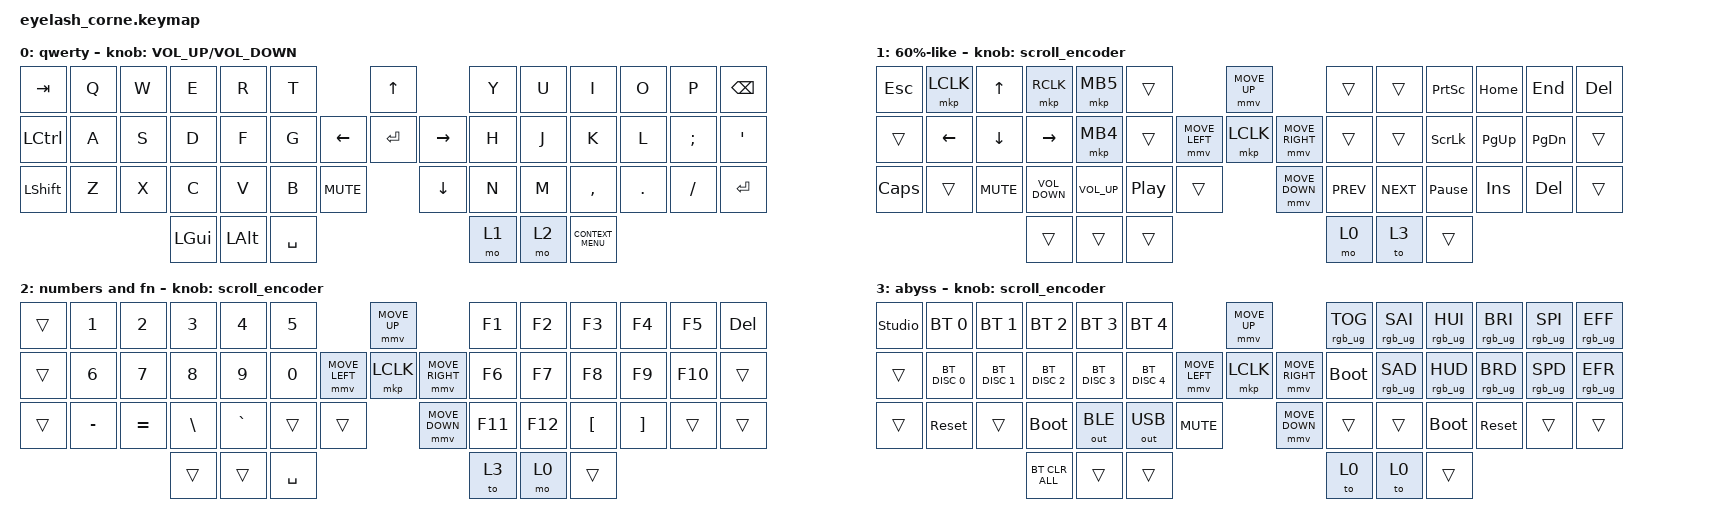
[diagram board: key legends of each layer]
#include <input/processors.dtsi>
#include <dt-bindings/zmk/mouse.h>
#include <behaviors.dtsi>
#include <dt-bindings/zmk/bt.h>
#include <dt-bindings/zmk/keys.h>
#include <dt-bindings/zmk/outputs.h>
#include <dt-bindings/zmk/pointing.h>
#include <dt-bindings/zmk/rgb.h>

/*

   &mmv_input_listener {
       input-processors = <&zip_xy_scaler 2 1>;
   };

   &msc_input_listener {
       input-processors = <&zip_xy_scaler 2 1>;
   };

 */

#define ZMK_MOUSE_DEFAULT_MOVE_VAL 1200  // 600
#define ZMK_MOUSE_DEFAULT_SCRL_VAL 20    // 10

/ {
    behaviors {
        td0: td0 {
            compatible = "zmk,behavior-tap-dance";
            display-name = "Shift/Caps Lock Tap Dance";
            #binding-cells = <0>;
            bindings = <&kp LEFT_SHIFT>, <&kp CAPS>;
        };
    };

    rgb_encoder: rgb_encoder {
        compatible = "zmk,behavior-sensor-rotate";
        #sensor-binding-cells = <0>;
        bindings = <&rgb_ug RGB_BRI>, <&rgb_ug RGB_BRD>;
    };

    scroll_encoder: scroll_encoder {
        compatible = "zmk,behavior-sensor-rotate";
        #sensor-binding-cells = <0>;
        bindings = <&msc SCRL_DOWN>, <&msc SCRL_UP>;

        tap-ms = <30>;
    };

    keymap {
        compatible = "zmk,keymap";

        layer_0 {
            display-name = "qwerty";
            bindings = <
&kp TAB         &kp Q  &kp W  &kp E     &kp R         &kp T                              &kp UP                &kp Y  &kp U  &kp I               &kp O    &kp P     &kp BSPC
&kp LCTRL       &kp A  &kp S  &kp D     &kp F         &kp G                    &kp LEFT  &kp ENTER  &kp RIGHT  &kp H  &kp J  &kp K               &kp L    &kp SEMI  &kp SQT
&kp LEFT_SHIFT  &kp Z  &kp X  &kp C     &kp V         &kp B      &kp C_MUTE              &kp DOWN              &kp N  &kp M  &kp COMMA           &kp DOT  &kp FSLH  &kp ENTER
                              &kp LGUI  &kp LEFT_ALT  &kp SPACE                                                &mo 1  &mo 2  &kp K_CONTEXT_MENU
            >;

            sensor-bindings = <&inc_dec_kp C_VOLUME_UP C_VOLUME_DOWN>;
        };

        layer_-1 {
            display-name = "60%-like";
            bindings = <
&kp ESC       &mkp LCLK  &kp UP_ARROW  &mkp RCLK          &mkp MB5         &trans                                      &mmv MOVE_UP                     &trans      &trans      &kp PRINTSCREEN  &kp HOME   &kp END     &kp DELETE
&trans        &kp LEFT   &kp DOWN      &kp RIGHT          &mkp MB4         &trans                      &mmv MOVE_LEFT  &mkp LCLK       &mmv MOVE_RIGHT  &trans      &trans      &kp SCROLLLOCK   &kp PG_UP  &kp PG_DN   &trans
&kp CAPSLOCK  &trans     &kp C_MUTE    &kp C_VOLUME_DOWN  &kp C_VOLUME_UP  &kp C_PLAY_PAUSE  &trans                    &mmv MOVE_DOWN                   &kp C_PREV  &kp C_NEXT  &kp PAUSE_BREAK  &kp INS    &kp DELETE  &trans
                                       &trans             &trans           &trans                                                                       &mo 0       &to 3       &trans
            >;

            sensor-bindings = <&scroll_encoder>;
        };

        layer_1 {
            display-name = "numbers and fn";
            bindings = <
&trans  &kp NUMBER_1  &kp NUMBER_2  &kp NUMBER_3   &kp NUMBER_4  &kp N5                               &mmv MOVE_UP                     &kp F1   &kp F2   &kp F3            &kp F4             &kp F5   &kp DELETE
&trans  &kp NUMBER_6  &kp N7        &kp N8         &kp N9        &kp N0               &mmv MOVE_LEFT  &mkp LCLK       &mmv MOVE_RIGHT  &kp F6   &kp F7   &kp F8            &kp F9             &kp F10  &trans
&trans  &kp MINUS     &kp EQUAL     &kp BACKSLASH  &kp GRAVE     &trans     &trans                    &mmv MOVE_DOWN                   &kp F11  &kp F12  &kp LEFT_BRACKET  &kp RIGHT_BRACKET  &trans   &trans
                                    &trans         &trans        &kp SPACE                                                             &to 3    &mo 0    &trans
            >;

            sensor-bindings = <&scroll_encoder>;
        };

        layer_2 {
            display-name = "abyss";
            bindings = <
&studio_unlock  &bt BT_SEL 0   &bt BT_SEL 1   &bt BT_SEL 2    &bt BT_SEL 3   &bt BT_SEL 4                                 &mmv MOVE_UP                     &rgb_ug RGB_TOG  &rgb_ug RGB_SAI  &rgb_ug RGB_HUI  &rgb_ug RGB_BRI  &rgb_ug RGB_SPI  &rgb_ug RGB_EFF
&trans          &bt BT_DISC 0  &bt BT_DISC 1  &bt BT_DISC 2   &bt BT_DISC 3  &bt BT_DISC 4                &mmv MOVE_LEFT  &mkp LCLK       &mmv MOVE_RIGHT  &bootloader      &rgb_ug RGB_SAD  &rgb_ug RGB_HUD  &rgb_ug RGB_BRD  &rgb_ug RGB_SPD  &rgb_ug RGB_EFR
&trans          &sys_reset     &trans         &bootloader     &out OUT_BLE   &out OUT_USB   &kp C_MUTE                    &mmv MOVE_DOWN                   &trans           &trans           &bootloader      &sys_reset       &trans           &trans
                                              &bt BT_CLR_ALL  &trans         &trans                                                                        &to 0            &to 0            &trans
            >;

            sensor-bindings = <&scroll_encoder>;
        };
    };
};
